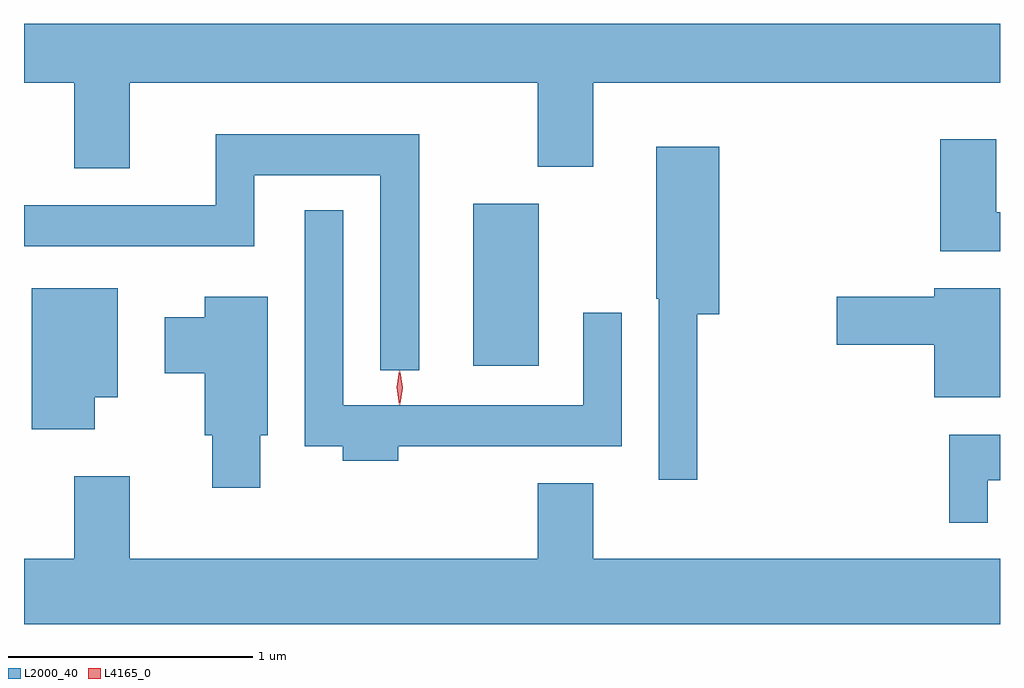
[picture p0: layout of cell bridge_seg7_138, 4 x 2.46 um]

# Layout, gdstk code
import gdstk
lib = gdstk.Library(unit=1e-6, precision=1e-09)
def R(c, l, rs):  # rectangles x0, y0, x1, y1
    for r in rs: c.add(gdstk.rectangle(r[:2], r[2:], *l))
def P(c, l, *ps):  # polygons
    for p in ps: c.add(gdstk.Polygon(p, *l))
L2000_40 = (2000, 40)
L4165_0 = (4165, 0)

bridge_seg7_138 = lib.new_cell('bridge_seg7_138')
R(bridge_seg7_138, L2000_40, [(1476.586,1735.356,1476.854,1736.019)])
P(bridge_seg7_138, L2000_40, [(1475.179,1736.516),(1476.851,1736.516),(1476.851,1736.171),(1477.079,1736.171),(1477.079,1736.516),(1478.745,1736.516),(1478.745,1736.758),(1474.745,1736.758),(1474.745,1736.516),(1474.951,1736.516),(1474.951,1736.166),(1475.179,1736.166)],
  [(1476.364,1736.304),(1475.531,1736.304),(1475.531,1736.014),(1474.745,1736.014),(1474.745,1735.846),(1475.689,1735.846),(1475.689,1736.136),(1476.206,1736.136),(1476.206,1735.338),(1476.364,1735.338)],
  [(1478.745,1735.984),(1478.729,1735.984),(1478.729,1736.284),(1478.501,1736.284),(1478.501,1735.826),(1478.745,1735.826)],
  [(1477.504,1735.566),(1477.594,1735.566),(1477.594,1736.254),(1477.336,1736.254),(1477.336,1735.63),(1477.346,1735.63),(1477.346,1734.888),(1477.504,1734.888)],
  [(1476.279,1735.026),(1477.194,1735.026),(1477.194,1735.573),(1477.036,1735.573),(1477.036,1735.194),(1476.054,1735.194),(1476.054,1735.993),(1475.896,1735.993),(1475.896,1735.026),(1476.051,1735.026),(1476.051,1734.966),(1476.279,1734.966)],
  [(1478.745,1735.674),(1478.476,1735.674),(1478.476,1735.639),(1478.076,1735.639),(1478.076,1735.441),(1478.476,1735.441),(1478.476,1735.226),(1478.745,1735.226)],
  [(1475.034,1735.226),(1475.129,1735.226),(1475.129,1735.674),(1474.776,1735.674),(1474.776,1735.096),(1475.034,1735.096)],
  [(1475.714,1735.071),(1475.744,1735.071),(1475.744,1735.639),(1475.486,1735.639),(1475.486,1735.554),(1475.321,1735.554),(1475.321,1735.326),(1475.486,1735.326),(1475.486,1735.071),(1475.516,1735.071),(1475.516,1734.856),(1475.714,1734.856)],
  [(1478.694,1734.886),(1478.745,1734.886),(1478.745,1735.074),(1478.536,1735.074),(1478.536,1734.713),(1478.694,1734.713)],
  [(1478.745,1734.564),(1477.079,1734.564),(1477.079,1734.874),(1476.851,1734.874),(1476.851,1734.564),(1475.179,1734.564),(1475.179,1734.904),(1474.951,1734.904),(1474.951,1734.564),(1474.745,1734.564),(1474.745,1734.296),(1478.745,1734.296)])
P(bridge_seg7_138, L4165_0, [(1476.288,1735.199),(1476.287,1735.2),(1476.278,1735.266),(1476.287,1735.332),(1476.288,1735.333),(1476.288,1735.332),(1476.298,1735.266),(1476.288,1735.2)],
  [(1476.282,1735.197),(1476.282,1735.197),(1476.272,1735.267),(1476.282,1735.336),(1476.282,1735.336),(1476.283,1735.336),(1476.292,1735.267),(1476.283,1735.197)])

lib.write_gds('bridge_seg7_138.gds')
